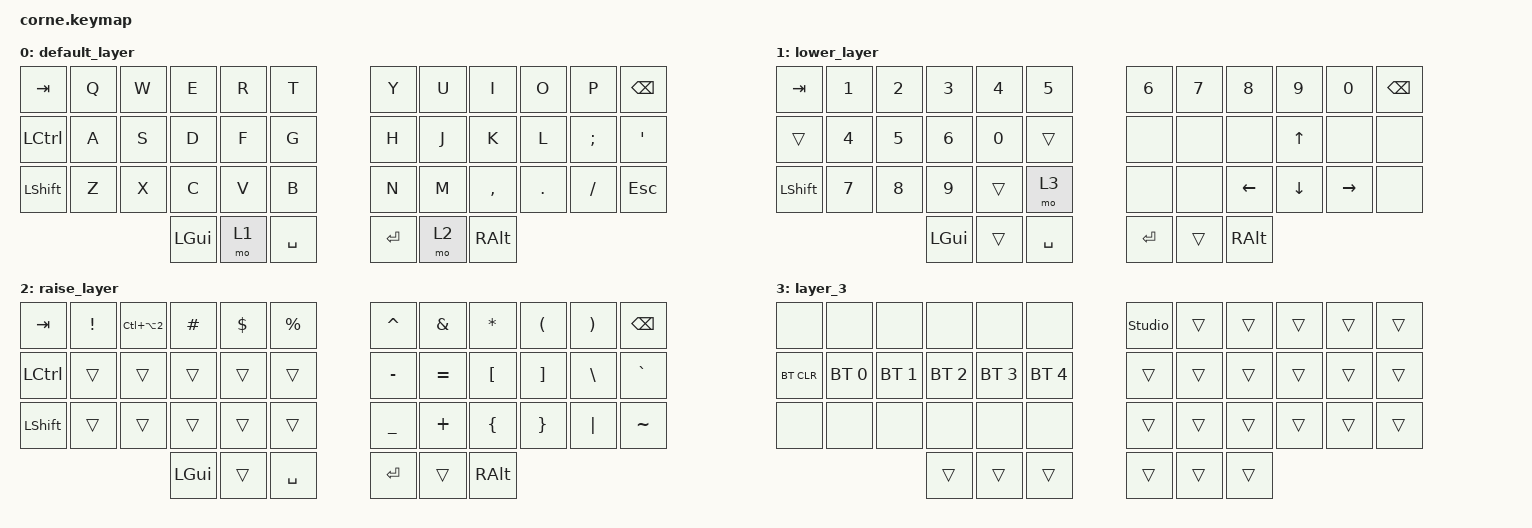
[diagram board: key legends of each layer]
/*
 * Copyright (c) 2020 The ZMK Contributors
 *
 * SPDX-License-Identifier: MIT
 */

#include <behaviors.dtsi>
#include <dt-bindings/zmk/bt.h>
#include <dt-bindings/zmk/keys.h>

/ {
    keymap {
        compatible = "zmk,keymap";

        default_layer {
            // -----------------------------------------------------------------------------------------
            // |  TAB |  Q  |  W  |  E  |  R  |  T  |   |  Y  |  U   |  I  |  O  |  P  | BSPC |
            // | CTRL |  A  |  S  |  D  |  F  |  G  |   |  H  |  J   |  K  |  L  |  ;  |  '   |
            // | SHFT |  Z  |  X  |  C  |  V  |  B  |   |  N  |  M   |  ,  |  .  |  /  | ESC  |
            //                    | GUI | LWR | SPC |   | ENT | RSE  | ALT |

            bindings = <
&kp TAB    &kp Q  &kp W  &kp E     &kp R  &kp T        &kp Y    &kp U  &kp I      &kp O    &kp P     &kp BSPC
&kp LCTRL  &kp A  &kp S  &kp D     &kp F  &kp G        &kp H    &kp J  &kp K      &kp L    &kp SEMI  &kp SQT
&kp LSHFT  &kp Z  &kp X  &kp C     &kp V  &kp B        &kp N    &kp M  &kp COMMA  &kp DOT  &kp FSLH  &kp ESC
                         &kp LGUI  &mo 1  &kp SPACE    &kp RET  &mo 2  &kp RALT
            >;
        };

        lower_layer {
            // -----------------------------------------------------------------------------------------
            // |  TAB |  1  |  2  |  3  |  4  |  5  |   |  6  |  7  |  8  |  9  |  0  | BSPC |
            // | BTCLR| BT1 | BT2 | BT3 | BT4 | BT5 |   | LFT | DWN |  UP | RGT |     |      |
            // | SHFT |     |     |     |     |     |   |     |     |     |     |     |      |
            //                    | GUI |     | SPC |   | ENT |     | ALT |

            bindings = <
&kp TAB    &kp N1        &kp N2        &kp N3        &kp N4        &kp N5       &kp N6   &kp N7  &kp N8          &kp N9          &kp N0           &kp BSPC
&trans     &kp NUMBER_4  &kp N5        &kp N6        &kp NUMBER_0  &trans       &none    &none   &none           &kp UP_ARROW    &none            &none
&kp LSHFT  &kp NUMBER_7  &kp NUMBER_8  &kp NUMBER_9  &trans        &mo 3        &none    &none   &kp LEFT_ARROW  &kp DOWN_ARROW  &kp RIGHT_ARROW  &none
                                       &kp LGUI      &trans        &kp SPACE    &kp RET  &trans  &kp RALT
            >;
        };

        raise_layer {
            // -----------------------------------------------------------------------------------------
            // |  TAB |  !  |  @  |  #  |  $  |  %  |   |  ^  |  &  |  *  |  (  |  )  | BSPC |
            // | CTRL |     |     |     |     |     |   |  -  |  =  |  [  |  ]  |  \  |  `   |
            // | SHFT |     |     |     |     |     |   |  _  |  +  |  {  |  }  | "|" |  ~   |
            //                    | GUI |     | SPC |   | ENT |     | ALT |

            bindings = <
&kp TAB    &kp EXCL  &kp LC(LA(NUMBER_2))  &kp HASH  &kp DLLR  &kp PRCNT    &kp CARET  &kp AMPS   &kp ASTRK  &kp LPAR  &kp RPAR  &kp BSPC
&kp LCTRL  &trans    &trans                &trans    &trans    &trans       &kp MINUS  &kp EQUAL  &kp LBKT   &kp RBKT  &kp BSLH  &kp GRAVE
&kp LSHFT  &trans    &trans                &trans    &trans    &trans       &kp UNDER  &kp PLUS   &kp LBRC   &kp RBRC  &kp PIPE  &kp TILDE
                                           &kp LGUI  &trans    &kp SPACE    &kp RET    &trans     &kp RALT
            >;
        };

        layer_3 {
            bindings = <
&none       &none         &none         &none         &none         &none           &studio_unlock  &trans  &trans  &trans  &trans  &trans
&bt BT_CLR  &bt BT_SEL 0  &bt BT_SEL 1  &bt BT_SEL 2  &bt BT_SEL 3  &bt BT_SEL 4    &trans          &trans  &trans  &trans  &trans  &trans
&none       &none         &none         &none         &none         &none           &trans          &trans  &trans  &trans  &trans  &trans
                                        &trans        &trans        &trans          &trans          &trans  &trans
            >;
        };
    };
};
